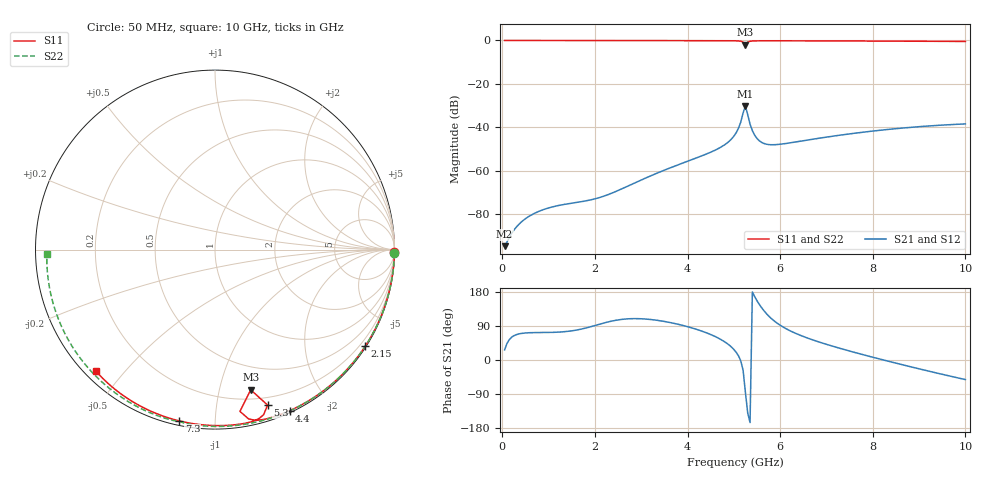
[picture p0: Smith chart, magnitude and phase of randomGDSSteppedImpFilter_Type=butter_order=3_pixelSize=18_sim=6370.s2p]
! freq	dB(S11)	phase(S11)	dB(S12)	phase(S12)
!  dB(S21)	phase(S21)	dB(S22)	phase(S22)
!S-par simulation data
#  GHz  S  DB  R 50
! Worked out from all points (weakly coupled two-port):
!   200 points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, 50 MHz to 10 GHz, reference 50 ohm
!   highest |S21| = -30.16 dB at 5.25 GHz (marker M1); lowest = -94.7 dB at 50 MHz (marker M2)
!   lowest |S11| = -1.9 dB at 5.25 GHz (marker M3), VSWR 9.31, Z = 14 - j62.4 ohm
!   |S11| at or under -10 dB: nowhere
!   |S22| runs from -0.6 to 0.0 dB; largest |S21 - S12| = 0
!   S11 on the Smith chart (normalised r, x): 50 MHz: open; 2.15 GHz: 0.03, -3.41; 4.4 GHz: 0.02, -1.56; 5.3 GHz: 0.13, -1.39; 7.3 GHz: 0.02, -0.81; 10 GHz: 0.03, -0.42
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0.05  -0.00 -0.8  -94.69 26.7  -94.69 26.7  -0.00 -1.1
0.65  -0.01 -10.0  -80.06 72.2  -80.06 72.2  -0.01 -13.7
1.1  -0.02 -16.9  -76.52 73.0  -76.52 73.0  -0.03 -23.1
1.75  -0.03 -26.7  -74.05 82.8  -74.05 82.8  -0.05 -36.4
2.15  -0.04 -32.7  -71.97 96.1  -71.97 96.1  -0.06 -44.4
3.4  -0.07 -51.0  -60.56 103.7  -60.56 103.7  -0.09 -68.5
4.4  -0.09 -65.2  -52.34 72.2  -52.34 72.2  -0.12 -86.8
4.8  -0.11 -71.1  -48.05 48.2  -48.05 48.2  -0.14 -93.8
5.05  -0.17 -75.6  -42.49 20.5  -42.49 20.5  -0.15 -98.2
5.15  -0.34 -78.8  -37.53 -2.4  -37.53 -2.4  -0.16 -99.9
5.2  -0.80 -81.2  -33.37 -27.3  -33.37 -27.3  -0.18 -100.9
5.25  -1.87 -75.7  -30.16 -85.6  -30.16 -85.6  -0.22 -101.6
5.3  -0.77 -71.3  -34.23 -140.4  -34.23 -140.4  -0.19 -102.2
5.35  -0.37 -73.6  -38.54 -165.0  -38.54 -165.0  -0.18 -103.1
5.45  -0.20 -76.5  -43.62 167.2  -43.62 167.2  -0.17 -104.8
5.55  -0.17 -78.5  -46.18 146.8  -46.18 146.8  -0.18 -106.5
5.65  -0.16 -80.2  -47.41 130.0  -47.41 130.0  -0.18 -108.2
5.95  -0.16 -84.5  -47.88 95.9  -47.88 95.9  -0.20 -113.2
6.7  -0.19 -94.3  -45.47 53.2  -45.47 53.2  -0.24 -125.5
7.3  -0.22 -101.8  -43.57 30.5  -43.57 30.5  -0.29 -135.1
8.35  -0.29 -114.5  -40.91 -3.7  -40.91 -3.7  -0.38 -151.8
10  -0.46 -134.3  -38.42 -51.7  -38.42 -51.7  -0.56 -178.6
